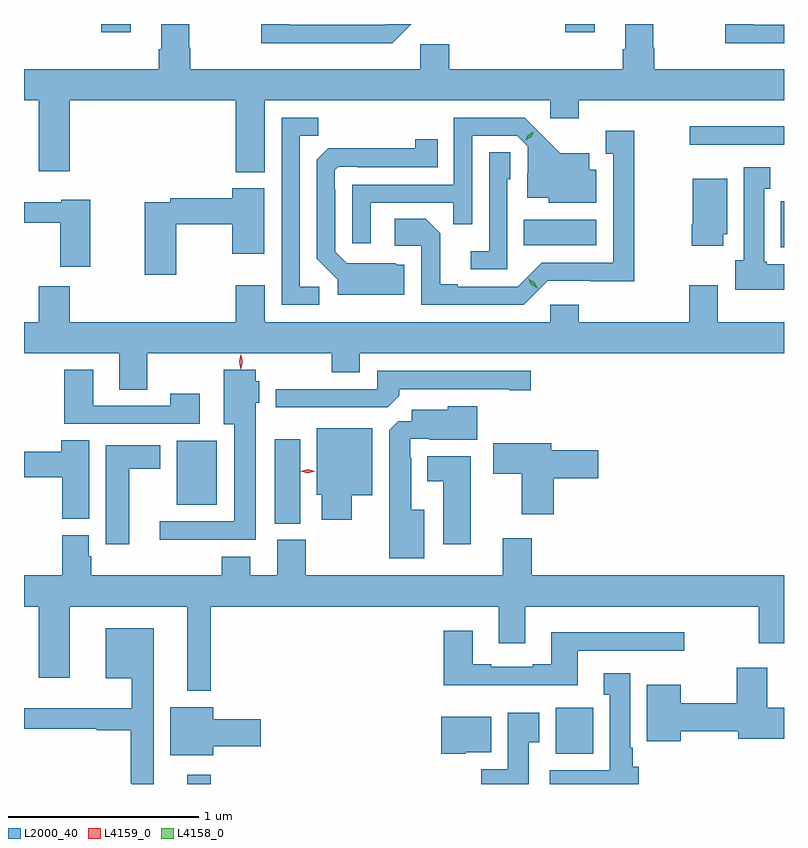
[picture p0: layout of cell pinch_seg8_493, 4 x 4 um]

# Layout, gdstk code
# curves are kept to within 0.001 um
import gdstk
lib = gdstk.Library(unit=1e-6, precision=1e-09)
def R(c, l, rs):  # rectangles x0, y0, x1, y1
    for r in rs: c.add(gdstk.rectangle(r[:2], r[2:], *l))
def P(c, l, *ps):  # polygons
    for p in ps: c.add(gdstk.Polygon(p, *l))
L2000_40 = (2000, 40)
L4158_0 = (4158, 0)
L4159_0 = (4159, 0)

pinch_seg8_493 = lib.new_cell('pinch_seg8_493')
R(pinch_seg8_493, L2000_40, [(153.803,1120.894,153.925,1120.942), (155.741,1121.054,155.938,1121.296), (154.262,1122.265,154.396,1122.709), (153.746,1122.365,153.958,1122.7), (156.926,1123.718,156.943,1123.96), (155.572,1123.73,155.956,1123.864), (156.447,1124.259,156.943,1124.356), (153.349,1124.85,153.505,1124.894), (155.791,1124.85,155.947,1124.894)])
P(pinch_seg8_493, L2000_40, [(156.943,1124.889),(156.781,1124.889),(156.781,1124.894),(156.633,1124.894),(156.633,1124.792),(156.943,1124.792)],
  [(154.982,1124.894),(154.844,1124.894),(154.839,1124.889),(154.339,1124.889),(154.339,1124.894),(154.191,1124.894),(154.191,1124.792),(154.88,1124.792)],
  [(154.21,1124.492),(155.712,1124.492),(155.712,1124.397),(155.864,1124.397),(155.864,1124.492),(156.943,1124.492),(156.943,1124.656),(156.26,1124.656),(156.26,1124.769),(156.255,1124.769),(156.255,1124.894),(156.107,1124.894),(156.107,1124.762),(156.095,1124.762),(156.095,1124.656),(155.18,1124.656),(155.18,1124.788),(155.028,1124.788),(155.028,1124.656),(153.818,1124.656),(153.818,1124.769),(153.813,1124.769),(153.813,1124.894),(153.665,1124.894),(153.665,1124.762),(153.653,1124.762),(153.653,1124.656),(152.943,1124.656),(152.943,1124.492),(153.02,1124.492),(153.02,1124.118),(153.184,1124.118),(153.184,1124.492),(154.058,1124.492),(154.058,1124.114),(154.21,1124.114)],
  [(154.498,1123.512),(154.395,1123.512),(154.395,1124.305),(154.491,1124.305),(154.491,1124.4),(154.299,1124.4),(154.299,1123.416),(154.498,1123.416)],
  [(154.767,1123.953),(155.203,1123.953),(155.203,1123.84),(155.301,1123.84),(155.301,1124.307),(155.538,1124.307),(155.595,1124.25),(155.595,1124.108),(155.591,1124.108),(155.591,1123.979),(155.706,1123.979),(155.706,1123.952),(155.956,1123.952),(155.956,1124.128),(155.917,1124.128),(155.917,1124.215),(155.765,1124.215),(155.578,1124.4),(155.205,1124.4),(155.205,1124.049),(154.671,1124.049),(154.671,1123.74),(154.767,1123.74)],
  [(155.7,1123.542),(156.155,1123.541),(156.155,1124.332),(156.005,1124.332),(156.005,1124.211),(156.044,1124.211),(156.044,1123.638),(155.667,1123.638),(155.541,1123.512),(155.227,1123.512),(155.227,1123.525),(155.133,1123.525),(155.133,1123.792),(155.057,1123.868),(154.893,1123.868),(154.893,1123.728),(155.034,1123.728),(155.034,1123.416),(155.574,1123.416)],
  [(154.945,1123.627),(154.907,1123.627),(154.898,1123.636),(154.641,1123.635),(154.581,1123.695),(154.581,1124.024),(154.578,1124.024),(154.578,1124.124),(154.596,1124.142),(154.696,1124.142),(154.696,1124.139),(155.12,1124.139),(155.12,1124.287),(155.002,1124.287),(155.002,1124.24),(154.544,1124.239),(154.485,1124.18),(154.485,1123.658),(154.595,1123.548),(154.595,1123.469),(154.945,1123.469)],
  [(155.487,1124.076),(155.502,1124.076),(155.502,1124.219),(155.391,1124.219),(155.391,1123.699),(155.295,1123.699),(155.295,1123.602),(155.487,1123.602)],
  [(156.943,1123.63),(156.852,1123.63),(156.852,1123.644),(156.838,1123.644),(156.838,1124.027),(156.871,1124.027),(156.871,1124.14),(156.731,1124.14),(156.731,1123.65),(156.686,1123.65),(156.686,1123.496),(156.943,1123.496)],
  [(156.622,1123.788),(156.643,1123.788),(156.643,1124.08),(156.464,1124.08),(156.464,1123.84),(156.457,1123.84),(156.457,1123.728),(156.622,1123.728)],
  [(153.744,1123.84),(154.04,1123.84),(154.04,1123.686),(154.207,1123.686),(154.207,1124.029),(154.04,1124.029),(154.04,1123.976),(153.712,1123.976),(153.712,1123.956),(153.578,1123.956),(153.578,1123.575),(153.744,1123.575)],
  [(153.292,1123.969),(153.138,1123.969),(153.138,1123.957),(152.943,1123.957),(152.943,1123.848),(153.134,1123.848),(153.134,1123.617),(153.292,1123.617)],
  [(153.591,1123.16),(154.564,1123.16),(154.564,1123.061),(154.711,1123.061),(154.711,1123.16),(156.943,1123.16),(156.943,1123.324),(156.595,1123.324),(156.595,1123.519),(156.443,1123.519),(156.443,1123.324),(155.864,1123.324),(155.864,1123.417),(155.712,1123.417),(155.712,1123.324),(154.21,1123.324),(154.21,1123.519),(154.058,1123.519),(154.058,1123.324),(153.184,1123.324),(153.184,1123.513),(153.02,1123.513),(153.02,1123.324),(152.943,1123.324),(152.943,1123.16),(153.443,1123.16),(153.443,1122.97),(153.591,1122.97)],
  [(154.162,1122.9),(154.18,1122.9),(154.18,1123.014),(154.162,1123.014),(154.162,1123.075),(153.995,1123.075),(153.995,1122.788),(154.049,1122.788),(154.049,1122.276),(153.657,1122.276),(153.657,1122.179),(154.162,1122.179)],
  [(153.868,1122.949),(153.712,1122.949),(153.712,1122.885),(153.307,1122.885),(153.307,1123.075),(153.155,1123.075),(153.155,1122.789),(153.868,1122.789)],
  [(154.919,1122.938),(154.919,1122.972),(155.498,1122.972),(155.498,1122.967),(155.611,1122.967),(155.611,1123.068),(154.803,1123.068),(154.803,1122.972),(154.269,1122.972),(154.269,1122.876),(154.857,1122.876)],
  [(155.05,1122.337),(154.981,1122.337),(154.981,1122.611),(154.977,1122.611),(154.977,1122.711),(155.077,1122.711),(155.077,1122.707),(155.329,1122.707),(155.329,1122.883),(155.172,1122.883),(155.172,1122.865),(154.985,1122.865),(154.985,1122.804),(154.914,1122.804),(154.865,1122.755),(154.865,1122.083),(155.05,1122.083)],
  [(154.669,1122.413),(154.777,1122.413),(154.777,1122.766),(154.484,1122.766),(154.484,1122.417),(154.511,1122.417),(154.511,1122.285),(154.669,1122.285)],
  [(153.286,1122.704),(153.14,1122.704),(153.14,1122.644),(152.943,1122.644),(152.943,1122.508),(153.145,1122.508),(153.145,1122.289),(153.286,1122.289)],
  [(155.732,1122.503),(155.965,1122.503),(155.965,1122.65),(155.719,1122.65),(155.719,1122.688),(155.412,1122.688),(155.412,1122.526),(155.564,1122.526),(155.564,1122.315),(155.732,1122.315)],
  [(153.496,1122.554),(153.661,1122.554),(153.661,1122.676),(153.374,1122.676),(153.374,1122.156),(153.496,1122.156)],
  [(155.293,1122.619),(155.066,1122.619),(155.066,1122.488),(155.15,1122.488),(155.15,1122.156),(155.293,1122.156)],
  [(153.925,1121.828),(155.441,1121.828),(155.441,1121.634),(155.581,1121.634),(155.581,1121.828),(156.811,1121.828),(156.811,1121.634),(156.943,1121.634),(156.943,1121.992),(155.615,1121.992),(155.615,1122.187),(155.462,1122.187),(155.462,1121.992),(154.425,1121.992),(154.425,1122.18),(154.277,1122.18),(154.277,1121.992),(154.135,1121.992),(154.135,1122.091),(153.983,1122.091),(153.983,1121.992),(153.296,1121.992),(153.296,1122.093),(153.283,1122.093),(153.283,1122.204),(153.143,1122.204),(153.143,1121.992),(152.943,1121.992),(152.943,1121.828),(153.02,1121.828),(153.02,1121.454),(153.184,1121.454),(153.184,1121.828),(153.803,1121.828),(153.803,1121.384),(153.925,1121.384)],
  [(153.625,1121.713),(153.374,1121.713),(153.374,1121.45),(153.511,1121.45),(153.511,1121.293),(152.943,1121.293),(152.943,1121.184),(153.325,1121.184),(153.325,1121.176),(153.504,1121.176),(153.504,1120.897),(153.511,1120.897),(153.511,1120.894),(153.625,1120.894)],
  [(155.857,1121.595),(156.418,1121.595),(156.418,1121.692),(155.717,1121.692),(155.717,1121.524),(155.621,1121.524),(155.621,1121.511),(155.401,1121.511),(155.401,1121.524),(155.305,1121.524),(155.305,1121.701),(155.153,1121.701),(155.153,1121.414),(155.857,1121.414)],
  [(156.4,1121.171),(156.701,1121.171),(156.701,1121.132),(156.943,1121.132),(156.943,1121.295),(156.856,1121.295),(156.856,1121.506),(156.694,1121.506),(156.694,1121.318),(156.4,1121.318),(156.4,1121.416),(156.221,1121.416),(156.221,1121.12),(156.4,1121.12)],
  [(156.178,1120.986),(156.148,1120.986),(156.148,1121.086),(156.133,1121.086),(156.133,1121.476),(155.993,1121.476),(155.993,1121.363),(156.026,1121.363),(156.026,1120.966),(155.709,1120.966),(155.709,1120.894),(156.178,1120.894)],
  [(153.94,1121.092),(154.189,1121.092),(154.189,1121.234),(153.94,1121.234),(153.94,1121.299),(153.713,1121.299),(153.713,1121.045),(153.94,1121.045)],
  [(155.599,1121.113),(155.656,1121.113),(155.656,1121.269),(155.489,1121.269),(155.489,1120.972),(155.35,1120.972),(155.35,1120.894),(155.599,1120.894)],
  [(155.268,1121.06),(155.401,1121.06),(155.401,1121.248),(155.138,1121.248),(155.138,1121.054),(155.268,1121.054)])
P(pinch_seg8_493, L4158_0, [(155.646,1123.503),(155.614,1123.521),(155.596,1123.553),(155.596,1123.554),(155.596,1123.554),(155.628,1123.535),(155.646,1123.503),(155.646,1123.503)],
  [(155.58,1124.282),(155.58,1124.282),(155.597,1124.312),(155.627,1124.327),(155.627,1124.327),(155.627,1124.327),(155.61,1124.297),(155.58,1124.282)])
P(pinch_seg8_493, L4159_0, [(154.437,1122.53),(154.398,1122.54),(154.398,1122.54),(154.398,1122.54),(154.437,1122.55),(154.477,1122.54),(154.477,1122.54),(154.477,1122.54)],
  [(154.085,1123.074),(154.085,1123.075),(154.075,1123.116),(154.085,1123.156),(154.085,1123.157),(154.085,1123.156),(154.095,1123.116),(154.085,1123.075)])

lib.write_gds('pinch_seg8_493.gds')
